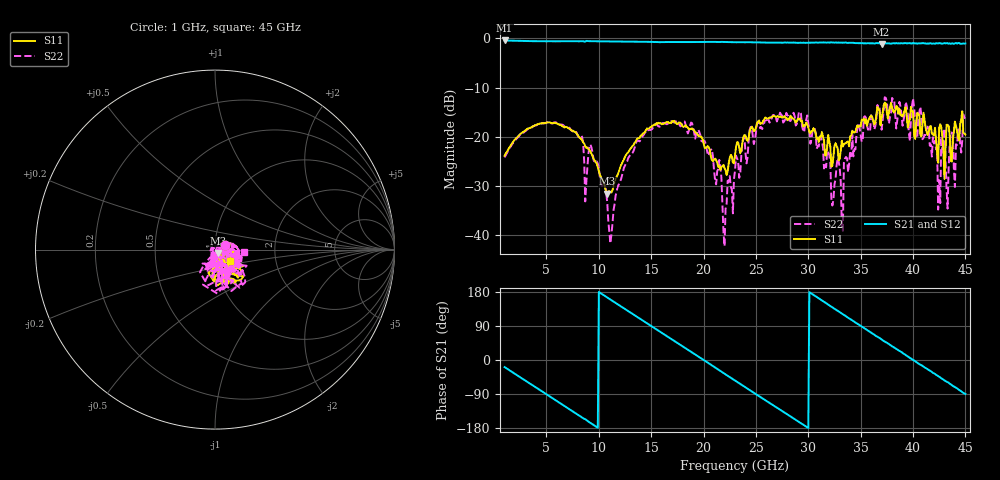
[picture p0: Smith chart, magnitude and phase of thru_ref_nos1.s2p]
!Keysight Technologies,N5247B,MY61255062,A.19.80.06
!Date: Monday, May 18, 2026 13:12:10
!Correction: S11(Cdelta 2-Port  )
!S21(Cdelta 2-Port  )
!S12(Cdelta 2-Port  )
!S22(Cdelta 2-Port  )
!S2P File: Measurements: S11, S21, S12, S22:
# Hz S  dB  R 50
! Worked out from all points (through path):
!   441 points, 1 GHz to 45 GHz, reference 50 ohm
!   highest |S21| = -0.41 dB at 1 GHz (marker M1); lowest = -1.1 dB at 37 GHz (marker M2)
!   group delay of S21, straight-line fit = 49.9 ps
!   lowest |S11| = -31.6 dB at 10.8 GHz (marker M3), VSWR 1.05, Z = 51.9 - j1.9 ohm
!   |S11| at or under -10 dB: start of sweep to end of sweep
!   |S22| runs from -42.3 to -12.0 dB; largest |S21 - S12| = 0.017
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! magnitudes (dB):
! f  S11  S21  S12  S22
! 1 GHz  -23.9  -0.4  -0.4  -24.2
! 5 GHz  -17.1  -0.6  -0.6  -17.1
! 8.4 GHz  -20.7  -0.6  -0.5  -20.0
! 10.8 GHz  -31.6  -0.6  -0.6  -33.4
! 11.1 GHz  -31.2  -0.6  -0.6  -41.7
! 12.6 GHz  -23.7  -0.7  -0.7  -25.4
! 15.7 GHz  -17.1  -0.7  -0.7  -17.9
! 19.6 GHz  -19.9  -0.7  -0.7  -19.1
! 21.5 GHz  -25.9  -0.7  -0.7  -24.7
! 22 GHz  -26.4  -0.7  -0.7  -42.3
! 23 GHz  -23.8  -0.8  -0.8  -26.9
! 26.6 GHz  -15.9  -0.9  -0.9  -15.6
! 30.4 GHz  -18.9  -0.8  -0.9  -18.8
! 33.2 GHz  -20.8  -0.9  -0.9  -38.4
! 34.8 GHz  -18.0  -1.0  -0.9  -17.3
! 37 GHz  -16.2  -1.1  -1.1  -18.6
! 37.7 GHz  -15.0  -1.0  -1.0  -17.4
! 40.7 GHz  -19.6  -1.0  -1.0  -13.9
! 42.1 GHz  -18.2  -1.1  -1.0  -20.8
! 42.4 GHz  -25.3  -1.0  -1.1  -34.8
! 42.9 GHz  -22.6  -1.0  -1.1  -20.9
! 45 GHz  -19.5  -1.0  -1.1  -15.9
